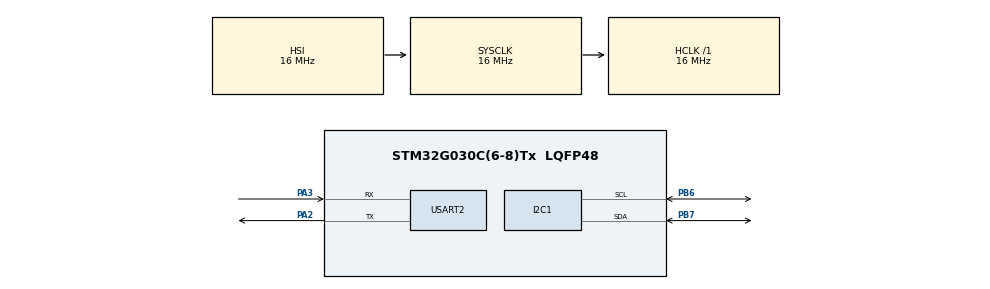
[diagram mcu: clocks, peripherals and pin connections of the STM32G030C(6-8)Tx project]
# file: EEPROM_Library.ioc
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I2C1.Timing=0x00503D58
Mcu.Family=STM32G0
Mcu.Name=STM32G030C(6-8)Tx
Mcu.Package=LQFP48
PA13.Mode=Serial_Wire
PA13.Signal=SYS_SWDIO
PA14-BOOT0.Mode=Serial_Wire
PA14-BOOT0.Signal=SYS_SWCLK
PA2.Mode=Asynchronous
PA2.Signal=USART2_TX
PA3.Mode=Asynchronous
PA3.Signal=USART2_RX
PB6.GPIO_Pu=GPIO_PULLUP
PB6.Mode=I2C
PB6.Signal=I2C1_SCL
PB7.GPIO_Pu=GPIO_PULLUP
PB7.Mode=I2C
PB7.Signal=I2C1_SDA
ProjectManager.HeapSize=0x200
ProjectManager.StackSize=0x400
ProjectManager.TargetToolchain=STM32CubeIDE
RCC.AHBFreq_Value=16000000
RCC.CortexFreq_Value=16000000
RCC.EXTERNAL_CLOCK_VALUE=12288000
RCC.HCLKFreq_Value=16000000
RCC.HSE_VALUE=8000000
RCC.HSI_VALUE=16000000
RCC.LSE_VALUE=32768
RCC.SYSCLKFreq_VALUE=16000000
RCC.VCOOutputFreq_Value=128000000
USART2.VirtualMode-Asynchronous=VM_ASYNC
board=custom

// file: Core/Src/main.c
/* USER CODE BEGIN Header */
/**
  ******************************************************************************
  * @file           : main.c
  * @brief          : Main program body
  ******************************************************************************
  * @attention
  *
  * Copyright (c) 2025 STMicroelectronics.
  * All rights reserved.
  *
  * This software is licensed under terms that can be found in the LICENSE file
  * in the root directory of this software component.
  * If no LICENSE file comes with this software, it is provided AS-IS.
  *
  ******************************************************************************
  */
/* USER CODE END Header */
#include "main.h"

/* USER CODE BEGIN Includes */
#include "ft24c02a_eeprom.h"
#include "stdio.h"
#include "string.h"
/* USER CODE END Includes */

I2C_HandleTypeDef hi2c1;

UART_HandleTypeDef huart2;

/* USER CODE BEGIN PV */

// FT24C02A yapılandırma yapısı
FT24C02A_HandleTypeDef hft24c02a;
/* USER CODE END PV */

void SystemClock_Config(void);
static void MX_GPIO_Init(void);
static void MX_I2C1_Init(void);
static void MX_USART2_UART_Init(void);

/* USER CODE BEGIN 0 */
// I2C yazma fonksiyonu (STM32 HAL kütüphanesi için)
int FT24C02A_I2C_Write(uint8_t devAddr, const uint8_t* pData, uint16_t size, uint32_t timeout)
{
  return HAL_I2C_Master_Transmit(&hi2c1, devAddr << 1, (uint8_t*)pData, size, timeout);
}

// I2C okuma fonksiyonu (STM32 HAL kütüphanesi için)
int FT24C02A_I2C_Read(uint8_t devAddr, uint8_t* pData, uint16_t size, uint32_t timeout)
{
  return HAL_I2C_Master_Receive(&hi2c1, devAddr << 1, pData, size, timeout);
}

// EEPROM kütüphanesini başlatma
void FT24C02A_Init(void)
{
  // I2C haberleşme fonksiyonlarını ayarla
  hft24c02a.IO.i2c_write = FT24C02A_I2C_Write;
  hft24c02a.IO.i2c_read = FT24C02A_I2C_Read;
  hft24c02a.IO.delay_ms = HAL_Delay;

  // Cihaz adresini ayarla
  hft24c02a.DevAddr = FT24C02A_DEFAULT_ADDR;
}

// EEPROM test fonksiyonu
void FT24C02A_Test(void)
{

// Tekli veri için

  uint8_t writeData1 = 244;
  uint8_t readData1 = 0;
  uint8_t memAddr1 = 0x10;

  uint8_t writeData2 = 24;
  uint8_t readData2 = 0;
  uint8_t memAddr2 = 0x20;

// Çoklu veri için

  uint8_t writeData3[4] = {11,22,33,44};
  uint8_t readData3[4] = {0};
  uint8_t memAddr3 = 0x30;

// Sayfaya yazmak için

  uint8_t writeData4[5] = {0xAA, 0xBB, 0xCC, 0xDD, 0xEE};
  uint8_t readData4[5] = {0};
  uint8_t memAddr4 = 0x40;

//Kelime yazdırma

  char mesaj[] = "Merhaba Exentech'e Hos geldiniz , STM32 ile EEPROM sayfa yazma!";
  char okunan[100] = {0};
  uint8_t memAddr5 = 0x60;

  FT24C02A_Status status;

  // ilk Veri yazma
  status = FT24C02A_WriteByte(&hft24c02a, memAddr1, writeData1);
  if (status != FT24C02A_OK) {
    printf(" tek Yazma hatasi: %d\r\n", status);
    return;
  }

  // ilk  Veri okuma
  status = FT24C02A_ReadByte(&hft24c02a, memAddr1, &readData1);
  if (status != FT24C02A_OK) {
    printf("tek Okuma hatasi: %d\r\n", status);
    return;
  }

  // ikinci Veri yazma
   status = FT24C02A_WriteByte(&hft24c02a, memAddr2, writeData2);
   if (status != FT24C02A_OK) {
     printf(" tek_1 Yazma hatasi: %d\r\n", status);
     return;
   }

   // ikinci Veri okuma
   status = FT24C02A_ReadByte(&hft24c02a, memAddr2, &readData2);
   if (status != FT24C02A_OK) {
     printf("tek_1 Okuma hatasi: %d\r\n", status);
     return;
   }

   // Çoklu veri yazma
   status = FT24C02A_WriteBuffer(&hft24c02a, memAddr3, writeData3, sizeof (writeData3));
   if(status != FT24C02A_OK){
	    printf("Coklu yazima hata: %d\r\n", status);
	   return;
   }

   //Çoklu veri okuma
   status = FT24C02A_ReadBuffer(&hft24c02a, memAddr3, readData3, sizeof(readData3));
   if (status != FT24C02A_OK) {
        printf(" Coklu Okuma hatasi: %d\r\n", status);
        return;
      }

   // Sayfa yazma
   status = FT24C02A_WritePage(&hft24c02a, memAddr4, writeData4, 5);
   if (status != FT24C02A_OK) {
     printf("Sayfa yazma hatasi: %d\r\n", status);
     return;
   }

   //Sayfa okuma
   status = FT24C02A_ReadPage(&hft24c02a, memAddr4, readData4, 5);
   if (status != FT24C02A_OK) {
     printf("Sayfa okuma hatasi: %d\r\n", status);
     return;
   }

   //yazı yazma
   status = FT24C02A_WriteLongData(&hft24c02a, memAddr5,(uint8_t*)mesaj , sizeof(mesaj));
   if (status != FT24C02A_OK) {
     printf(" Yazi Yazma hatasi: %d\r\n", status);
     return;
   }

   // yazı okuma
   status = FT24C02A_ReadLongData(&hft24c02a, memAddr5, (uint8_t*)okunan, sizeof(okunan));
   if (status != FT24C02A_OK) {
     printf("Yazi Okuma hatasi: %d\r\n", status);
     return;
   }

  // Doğrulama
  if (readData1 == writeData1 && readData2 == writeData2) {
	printf("# TEKLI VERI #\r\n");
    printf("Test basarili! Yazilan: 0x%02X,     Okunan: 0x%02X\r\n", writeData1, readData1);
    printf("Test basarili! Yazilan: 0x%02X,     Okunan: 0x%02X\r\n", writeData2, readData2);

    printf("# COKLU VERI #\r\n");

    for (int i = 0; i < 4; i++) {
    printf("Test basarili! Yazilan: 0x%02X,      Okunan: 0x%02X\r\n", writeData3[i], readData3[i]);
    }

    printf(" # SAYFA YAZMA OKUMA #\r\n");
     for (int i = 0; i < 5; i++) {
       printf("Test basarili! Yazilan: 0x%02X,     Okunan: 0x%02X\r\n", writeData4[i], readData4[i]);
     }
     printf("# YAZI YAZDIRMA #\n");
     printf("Yazilan mesaj: %s\nOkunan mesaj:  %s\r\n",mesaj, okunan);

  } else {
    printf("Test basarisiz! Yazilan: 0x%02X,     Okunan: 0x%02X\r\n", writeData1, readData1);
    printf("Test basarisiz! Yazilan: 0x%02X,     Okunan: 0x%02X\r\n", writeData2, readData2);
  }
//  FT24C02A_Clear(&hft24c02a);

}

// printf için gerekli yapılandırma
int __io_putchar(int ch)
{
  HAL_UART_Transmit(&huart2, (uint8_t *)&ch, 1, HAL_MAX_DELAY);
  return ch;
}

int _write(int file, char *ptr, int len)
{
  int DataIdx;
  for (DataIdx = 0; DataIdx < len; DataIdx++)
  {
    __io_putchar(*ptr++);
  }
  return len;
}
/* USER CODE END 0 */

int main(void)
{

  /* MCU Configuration--------------------------------------------------------*/

  /* Reset of all peripherals, Initializes the Flash interface and the Systick. */
  HAL_Init();

  /* Configure the system clock */
  SystemClock_Config();

  /* Initialize all configured peripherals */
  MX_GPIO_Init();
  MX_I2C1_Init();
  MX_USART2_UART_Init();
  /* USER CODE BEGIN 2 */

  // EEPROM kütüphanesini başlat
   FT24C02A_Init();

   // EEPROM test fonksiyonunu çağır
   FT24C02A_Test();
  /* USER CODE END 2 */

  /* Infinite loop */
  /* USER CODE BEGIN WHILE */
  while (1)
  {
//	  uint8_t komut = 0;
//	  // UART'tan 1 byte oku (bloklayıcı)
//	      if (HAL_UART_Receive(&huart2, &komut, 1, HAL_MAX_DELAY) == HAL_OK)
//	      {
//	          if (komut == 'c' || komut == 'C')  // 'c' komutu: clear
//	          {
//	              printf("\r\nEEPROM siliniyor...\r\n");
//	              FT24C02A_Clear(&hft24c02a);
//	          }
//	          else if (komut == 't' || komut == 'T') // 't' komutu: test
//	          {
//	              printf("\r\nTest başlatılıyor...\r\n");
//	              FT24C02A_Test();
//	          }
//	          else
//	          {
//	              printf("Geçersiz komut: %c\r\n", komut);
//	          }
//	      }
    /* USER CODE END WHILE */

  }
}

void SystemClock_Config(void)
{
  RCC_OscInitTypeDef RCC_OscInitStruct = {0};
  RCC_ClkInitTypeDef RCC_ClkInitStruct = {0};

  /** Configure the main internal regulator output voltage
  */
  HAL_PWREx_ControlVoltageScaling(PWR_REGULATOR_VOLTAGE_SCALE1);

  /** Initializes the RCC Oscillators according to the specified parameters
  * in the RCC_OscInitTypeDef structure.
  */
  RCC_OscInitStruct.OscillatorType = RCC_OSCILLATORTYPE_HSI;
  RCC_OscInitStruct.HSIState = RCC_HSI_ON;
  RCC_OscInitStruct.HSIDiv = RCC_HSI_DIV1;
  RCC_OscInitStruct.HSICalibrationValue = RCC_HSICALIBRATION_DEFAULT;
  RCC_OscInitStruct.PLL.PLLState = RCC_PLL_NONE;
  if (HAL_RCC_OscConfig(&RCC_OscInitStruct) != HAL_OK)
  {
    Error_Handler();
  }

  /** Initializes the CPU, AHB and APB buses clocks
  */
  RCC_ClkInitStruct.ClockType = RCC_CLOCKTYPE_HCLK|RCC_CLOCKTYPE_SYSCLK
                              |RCC_CLOCKTYPE_PCLK1;
  RCC_ClkInitStruct.SYSCLKSource = RCC_SYSCLKSOURCE_HSI;
  RCC_ClkInitStruct.AHBCLKDivider = RCC_SYSCLK_DIV1;
  RCC_ClkInitStruct.APB1CLKDivider = RCC_HCLK_DIV1;

  if (HAL_RCC_ClockConfig(&RCC_ClkInitStruct, FLASH_LATENCY_0) != HAL_OK)
  {
    Error_Handler();
  }
}

static void MX_I2C1_Init(void)
{

  hi2c1.Instance = I2C1;
  hi2c1.Init.Timing = 0x00503D58;
  hi2c1.Init.OwnAddress1 = 0;
  hi2c1.Init.AddressingMode = I2C_ADDRESSINGMODE_7BIT;
  hi2c1.Init.DualAddressMode = I2C_DUALADDRESS_DISABLE;
  hi2c1.Init.OwnAddress2 = 0;
  hi2c1.Init.OwnAddress2Masks = I2C_OA2_NOMASK;
  hi2c1.Init.GeneralCallMode = I2C_GENERALCALL_DISABLE;
  hi2c1.Init.NoStretchMode = I2C_NOSTRETCH_DISABLE;
  if (HAL_I2C_Init(&hi2c1) != HAL_OK)
  {
    Error_Handler();
  }

  /** Configure Analogue filter
  */
  if (HAL_I2CEx_ConfigAnalogFilter(&hi2c1, I2C_ANALOGFILTER_ENABLE) != HAL_OK)
  {
    Error_Handler();
  }

  /** Configure Digital filter
  */
  if (HAL_I2CEx_ConfigDigitalFilter(&hi2c1, 0) != HAL_OK)
  {
    Error_Handler();
  }

}

static void MX_USART2_UART_Init(void)
{

  huart2.Instance = USART2;
  huart2.Init.BaudRate = 115200;
  huart2.Init.WordLength = UART_WORDLENGTH_8B;
  huart2.Init.StopBits = UART_STOPBITS_1;
  huart2.Init.Parity = UART_PARITY_NONE;
  huart2.Init.Mode = UART_MODE_TX_RX;
  huart2.Init.HwFlowCtl = UART_HWCONTROL_NONE;
  huart2.Init.OverSampling = UART_OVERSAMPLING_16;
  huart2.Init.OneBitSampling = UART_ONE_BIT_SAMPLE_DISABLE;
  huart2.Init.ClockPrescaler = UART_PRESCALER_DIV1;
  huart2.AdvancedInit.AdvFeatureInit = UART_ADVFEATURE_NO_INIT;
  if (HAL_UART_Init(&huart2) != HAL_OK)
  {
    Error_Handler();
  }

}

static void MX_GPIO_Init(void)
{

  /* GPIO Ports Clock Enable */
  __HAL_RCC_GPIOA_CLK_ENABLE();
  __HAL_RCC_GPIOB_CLK_ENABLE();

}

void Error_Handler(void)
{
  __disable_irq();
  while (1)
  {
  }
}
